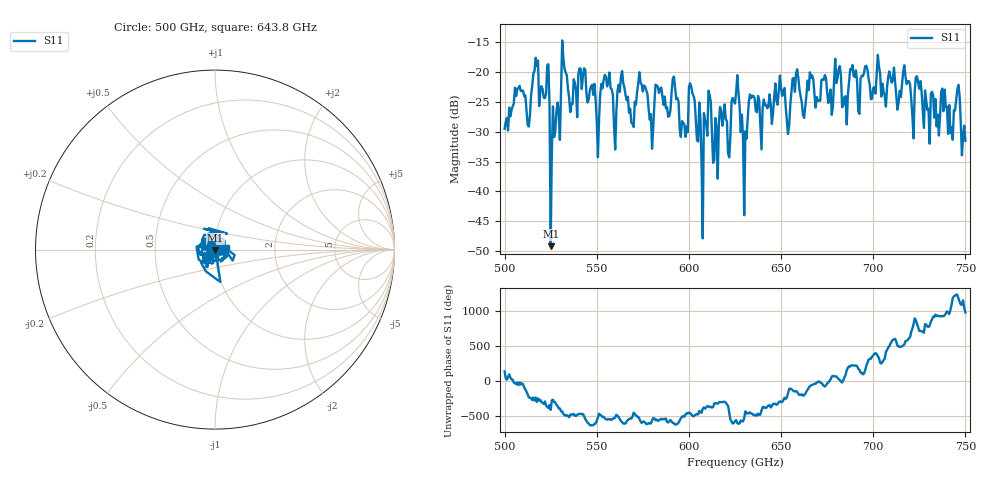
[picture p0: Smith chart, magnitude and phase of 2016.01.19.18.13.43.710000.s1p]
!Created with skrf (http://scikit-rf.org).
# GHz S RI R 50.0
!freq ReS11 ImS11
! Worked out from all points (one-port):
!   401 points, 500 GHz to 750 GHz, reference 50 ohm
!   lowest |S11| = -49.2 dB at 525 GHz (marker M1), VSWR 1.01, Z = 50.2 - j0.298 ohm
!   |S11| at or under -10 dB: start of sweep to end of sweep
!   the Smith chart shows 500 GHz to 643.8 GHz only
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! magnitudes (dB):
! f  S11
! 500 GHz  -29.5
! 513.1 GHz  -29.1
! 516.9 GHz  -17.6
! 523.1 GHz  -18.9
! 525 GHz  -49.2
! 526.2 GHz  -25.8
! 531.2 GHz  -14.8
! 550.6 GHz  -34.3
! 562.5 GHz  -23.4
! 568.8 GHz  -28.5
! 573.1 GHz  -20.1
! 579.4 GHz  -27.1
! 583.1 GHz  -22.5
! 593.8 GHz  -24.4
! 598.1 GHz  -30.9
! 601.2 GHz  -22.5
! 606.2 GHz  -27.9
! 610.6 GHz  -23.2
! 621.2 GHz  -33.6
! 625 GHz  -25.3
! 630.6 GHz  -30.0
! 633.8 GHz  -24.4
! 656.2 GHz  -21.1
! 687.5 GHz  -19.5
! 718.8 GHz  -21.6
! 741.9 GHz  -30.3
! 745.6 GHz  -22.9
! 750 GHz  -31.5
